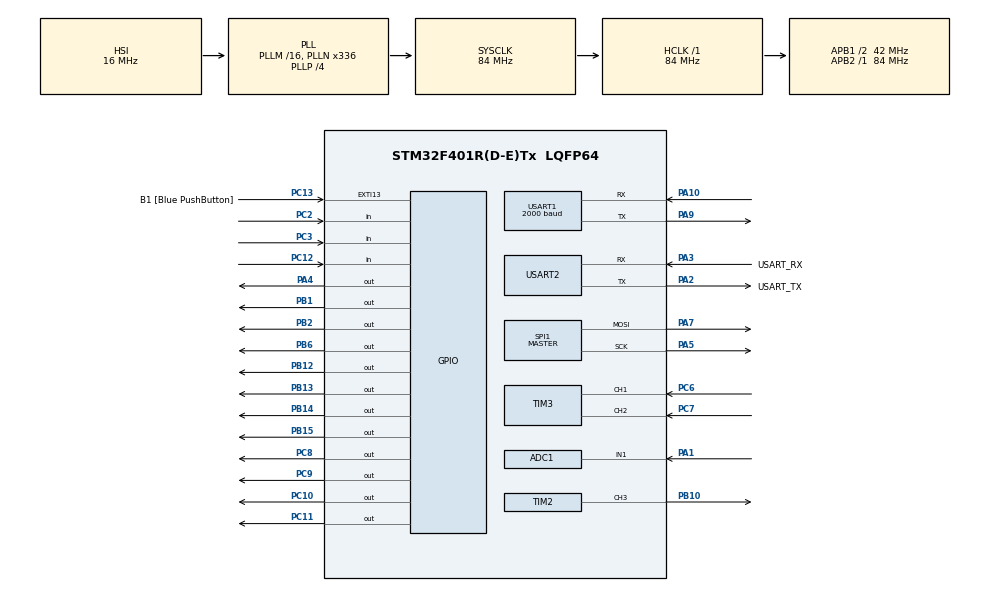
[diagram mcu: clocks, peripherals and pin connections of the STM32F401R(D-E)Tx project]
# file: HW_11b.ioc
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ADC1.Channel-0\#ChannelRegularConversion=ADC_CHANNEL_1
ADC1.ContinuousConvMode=DISABLE
ADC1.NbrOfConversionFlag=1
ADC1.Rank-0\#ChannelRegularConversion=1
ADC1.SamplingTime-0\#ChannelRegularConversion=ADC_SAMPLETIME_480CYCLES
ADC1.master=1
Dma.Request0=SPI1_TX
Dma.SPI1_TX.0.Direction=DMA_MEMORY_TO_PERIPH
Dma.SPI1_TX.0.FIFOMode=DMA_FIFOMODE_DISABLE
Dma.SPI1_TX.0.Instance=DMA2_Stream3
Dma.SPI1_TX.0.MemDataAlignment=DMA_MDATAALIGN_BYTE
Dma.SPI1_TX.0.MemInc=DMA_MINC_ENABLE
Dma.SPI1_TX.0.Mode=DMA_NORMAL
Dma.SPI1_TX.0.PeriphDataAlignment=DMA_PDATAALIGN_BYTE
Dma.SPI1_TX.0.PeriphInc=DMA_PINC_DISABLE
Dma.SPI1_TX.0.Priority=DMA_PRIORITY_LOW
Mcu.Family=STM32F4
Mcu.Name=STM32F401R(D-E)Tx
Mcu.Package=LQFP64
NVIC.DMA2_Stream3_IRQn=true\:0\:0\:false\:false\:true\:false\:true\:true
NVIC.PriorityGroup=NVIC_PRIORITYGROUP_1
NVIC.SPI1_IRQn=true\:0\:0\:false\:false\:true\:true\:true\:true
NVIC.TIM1_UP_TIM10_IRQn=true\:0\:0\:false\:false\:true\:true\:true\:true
NVIC.TIM2_IRQn=true\:0\:0\:false\:false\:true\:true\:true\:true
NVIC.TIM4_IRQn=true\:1\:0\:true\:false\:true\:true\:true\:true
NVIC.TIM5_IRQn=true\:0\:0\:false\:false\:true\:true\:true\:true
NVIC.USART1_IRQn=true\:0\:0\:false\:false\:true\:true\:true\:true
PA1.Signal=ADCx_IN1
PA10.Mode=Asynchronous
PA10.Signal=USART1_RX
PA13.GPIO_Label=TMS
PA13.Mode=Serial_Wire
PA13.Signal=SYS_JTMS-SWDIO
PA14.GPIO_Label=TCK
PA14.Mode=Serial_Wire
PA14.Signal=SYS_JTCK-SWCLK
PA2.GPIO_Label=USART_TX
PA2.GPIO_Mode=GPIO_MODE_AF_PP
PA2.GPIO_PuPd=GPIO_NOPULL
PA2.GPIO_Speed=GPIO_SPEED_FREQ_LOW
PA2.Mode=Asynchronous
PA2.Signal=USART2_TX
PA3.GPIO_Label=USART_RX
PA3.GPIO_Mode=GPIO_MODE_AF_PP
PA3.GPIO_PuPd=GPIO_NOPULL
PA3.GPIO_Speed=GPIO_SPEED_FREQ_LOW
PA3.Mode=Asynchronous
PA3.Signal=USART2_RX
PA4.Signal=GPIO_Output
PA5.Mode=TX_Only_Simplex_Unidirect_Master
PA5.Signal=SPI1_SCK
PA7.Mode=TX_Only_Simplex_Unidirect_Master
PA7.Signal=SPI1_MOSI
PA9.Mode=Asynchronous
PA9.Signal=USART1_TX
PB1.Signal=GPIO_Output
PB10.Signal=S_TIM2_CH3
PB12.Signal=GPIO_Output
PB13.Signal=GPIO_Output
PB14.Signal=GPIO_Output
PB15.Signal=GPIO_Output
PB2.Signal=GPIO_Output
PB3.GPIO_Label=SWO
PB3.Signal=SYS_JTDO-SWO
PB6.Signal=GPIO_Output
PC10.Signal=GPIO_Output
PC11.Signal=GPIO_Output
PC12.Signal=GPIO_Input
PC13-ANTI_TAMP.GPIO_Label=B1 [Blue PushButton]
PC13-ANTI_TAMP.GPIO_ModeDefaultEXTI=GPIO_MODE_IT_FALLING
PC13-ANTI_TAMP.GPIO_PuPd=GPIO_NOPULL
PC13-ANTI_TAMP.Signal=GPXTI13
PC14-OSC32_IN.Mode=LSE-External-Oscillator
PC14-OSC32_IN.Signal=RCC_OSC32_IN
PC15-OSC32_OUT.Mode=LSE-External-Oscillator
PC15-OSC32_OUT.Signal=RCC_OSC32_OUT
PC2.Signal=GPIO_Input
PC3.Signal=GPIO_Input
PC6.Signal=S_TIM3_CH1
PC7.Signal=S_TIM3_CH2
PC8.Signal=GPIO_Output
PC9.Signal=GPIO_Output
PH0\ -\ OSC_IN.Mode=HSE-External-Clock-Source
PH0\ -\ OSC_IN.Signal=RCC_OSC_IN
PH1\ -\ OSC_OUT.Mode=HSE-External-Clock-Source
PH1\ -\ OSC_OUT.Signal=RCC_OSC_OUT
ProjectManager.HeapSize=0x200
ProjectManager.StackSize=0x400
ProjectManager.TargetToolchain=STM32CubeIDE
RCC.48MHZClocksFreq_Value=48000000
RCC.AHBFreq_Value=84000000
RCC.APB1CLKDivider=RCC_HCLK_DIV2
RCC.APB1Freq_Value=42000000
RCC.APB1TimFreq_Value=84000000
RCC.APB2Freq_Value=84000000
RCC.APB2TimFreq_Value=84000000
RCC.CortexFreq_Value=84000000
RCC.HCLKFreq_Value=84000000
RCC.HSE_VALUE=8000000
RCC.HSI_VALUE=16000000
RCC.PLLN=336
RCC.PLLP=RCC_PLLP_DIV4
RCC.PLLQ=7
RCC.SYSCLKFreq_VALUE=84000000
RCC.SYSCLKSource=RCC_SYSCLKSOURCE_PLLCLK
RCC.VCOOutputFreq_Value=336000000
SH.ADCx_IN1.0=ADC1_IN1,IN1
SH.S_TIM2_CH3.0=TIM2_CH3,PWM Generation3 CH3
SH.S_TIM3_CH1.0=TIM3_CH1,Encoder_Interface
SH.S_TIM3_CH2.0=TIM3_CH2,Encoder_Interface
SPI1.BaudRatePrescaler=SPI_BAUDRATEPRESCALER_4
SPI1.Direction=SPI_DIRECTION_2LINES
SPI1.Mode=SPI_MODE_MASTER
SPI1.VirtualType=VM_MASTER
TIM10.Period=40
TIM10.Prescaler=8400
TIM2.Channel-PWM\ Generation3\ CH3=TIM_CHANNEL_3
TIM2.Period=2210
TIM2.Prescaler=0
TIM2.Pulse-PWM\ Generation3\ CH3=1105
TIM3.ClockDivision=TIM_CLOCKDIVISION_DIV4
TIM3.EncoderMode=TIM_ENCODERMODE_TI2
TIM3.IC1Filter=15
TIM4.Period=5-1
TIM4.Prescaler=8400-1
TIM5.Period=50-1
TIM5.Prescaler=8400-1
USART1.BaudRate=2000
USART1.VirtualMode=VM_ASYNC
USART2.VirtualMode=VM_ASYNC
VP_TIM10_VS_ClockSourceINT.Mode=Enable_Timer
VP_TIM4_VS_ClockSourceINT.Mode=Internal
VP_TIM5_VS_ClockSourceINT.Mode=Internal
board=NUCLEO-F401RE

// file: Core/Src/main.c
/* USER CODE BEGIN Header */
/**
 ******************************************************************************
 * @file           : main.c
 * @brief          : Main program body
 ******************************************************************************
 * @attention
 *
 * Copyright (c) 2023 STMicroelectronics.
 * All rights reserved.
 *
 * This software is licensed under terms that can be found in the LICENSE file
 * in the root directory of this software component.
 * If no LICENSE file comes with this software, it is provided AS-IS.
 *
 ******************************************************************************
 */
/* USER CODE END Header */
#include "main.h"

/* USER CODE BEGIN Includes */

#include "PMDB16_LCD.h"

/* USER CODE END Includes */

/* USER CODE BEGIN PTD */

// IR link control struct
struct IR_Ctrl
{
    int current_byte;
    int next_bit;
    uint8_t *buffer;
    int buffer_length;
};

/* USER CODE END PTD */

ADC_HandleTypeDef hadc1;

SPI_HandleTypeDef hspi1;
DMA_HandleTypeDef hdma_spi1_tx;

TIM_HandleTypeDef htim2;
TIM_HandleTypeDef htim3;
TIM_HandleTypeDef htim4;
TIM_HandleTypeDef htim5;
TIM_HandleTypeDef htim10;

UART_HandleTypeDef huart1;
UART_HandleTypeDef huart2;

/* USER CODE BEGIN PV */

// Button matrix
uint16_t rows[] = {GPIO_PIN_3, GPIO_PIN_2, GPIO_PIN_13, GPIO_PIN_12};
uint16_t cols[] = {GPIO_PIN_11, GPIO_PIN_10, GPIO_PIN_9, GPIO_PIN_8};
char vals[4][4] = {{'F', 'B', '7', '3'}, {'E', 'A', '6', '2'}, {'D', '9', '5', '1'}, {'C', '8', '4', '0'}};
int col_idx = 0;
uint8_t keys[4][4];

// Board identifiers
#define BOARDS 6
uint16_t board_id = 0;
uint16_t destination_id = BOARDS;

// IR link
uint8_t uart1_buffer;
struct IR_Ctrl ir_ctrl = {0, -1, NULL, 0};

int column_index = 0;
int letter_index = 0;

// {row, col}, where row is content, col is address
uint8_t matrix[5][2] = {
    {0, 0},
    {0, 0},
    {0, 0},
    {0, 0},
    {0, 0},
};

uint8_t ledmatrix_symbols[16][5][2] = {
    {{62, 16}, {113, 8}, {73, 4}, {71, 2}, {62, 1}}, // 0
    {{33, 16}, {65, 8}, {127, 4}, {1, 2}, {1, 1}},   // 1
    {{35, 16}, {69, 8}, {73, 4}, {81, 2}, {33, 1}},  // 2
    {{65, 16}, {73, 8}, {73, 4}, {73, 2}, {54, 1}},  // 3
    {{120, 16}, {8, 8}, {8, 4}, {127, 2}, {8, 1}},   // 4
    {{121, 16}, {73, 8}, {73, 4}, {73, 2}, {70, 1}}, // 5
    {{62, 16}, {73, 8}, {73, 4}, {73, 2}, {70, 1}},  // 6
    {{65, 16}, {66, 8}, {68, 4}, {72, 2}, {112, 1}}, // 7
    {{54, 16}, {73, 8}, {73, 4}, {73, 2}, {54, 1}},  // 8
    {{50, 16}, {73, 8}, {73, 4}, {73, 2}, {62, 1}},  // 9
    {{31, 16}, {36, 8}, {68, 4}, {36, 2}, {31, 1}},  // A
    {{127, 16}, {73, 8}, {73, 4}, {73, 2}, {54, 1}}, // B
    {{62, 16}, {65, 8}, {65, 4}, {65, 2}, {34, 1}},  // C
    {{127, 16}, {65, 8}, {65, 4}, {65, 2}, {62, 1}}, // D
    {{127, 16}, {73, 8}, {73, 4}, {73, 2}, {73, 1}}, // E
    {{127, 16}, {72, 8}, {72, 4}, {72, 2}, {72, 1}}  // F
};

/* USER CODE END PV */

void SystemClock_Config(void);
static void MX_GPIO_Init(void);
static void MX_DMA_Init(void);
static void MX_USART2_UART_Init(void);
static void MX_TIM3_Init(void);
static void MX_ADC1_Init(void);
static void MX_TIM2_Init(void);
static void MX_USART1_UART_Init(void);
static void MX_TIM4_Init(void);
static void MX_TIM5_Init(void);
static void MX_SPI1_Init(void);
static void MX_TIM10_Init(void);
/* USER CODE BEGIN PFP */

void send_command(char payload);
void parse_IR_byte(uint8_t byte);

void send_IR_string(uint8_t *data, int length);

/* USER CODE END PFP */

int main(void)
{

    /* MCU Configuration--------------------------------------------------------*/

    /* Reset of all peripherals, Initializes the Flash interface and the Systick. */
    HAL_Init();

    /* Configure the system clock */
    SystemClock_Config();

    /* Initialize all configured peripherals */
    MX_GPIO_Init();
    MX_DMA_Init();
    MX_USART2_UART_Init();
    MX_TIM3_Init();
    MX_ADC1_Init();
    MX_TIM2_Init();
    MX_USART1_UART_Init();
    MX_TIM4_Init();
    MX_TIM5_Init();
    MX_SPI1_Init();
    MX_TIM10_Init();
    /* USER CODE BEGIN 2 */

    lcd_initialize();

    // Start tim3 for quadrature encoder readout
    HAL_TIM_Base_Start(&htim3);

    // Start tim5 for keypad
    HAL_TIM_Base_Start_IT(&htim5);

    // Start receiving the first byte via the IR link
    HAL_UART_Receive_IT(&huart1, &uart1_buffer, 1);

    // Start tim10 for led matrix
    HAL_TIM_Base_Start_IT(&htim10);

    /* USER CODE END 2 */

    /* Infinite loop */
    /* USER CODE BEGIN WHILE */

    char id_message[17] = {0};
    ir_ctrl.buffer = malloc(4);

    while (1)
    {
        /* USER CODE END WHILE */

        /* USER CODE BEGIN 3 */

        // Read the board id
        board_id = (__HAL_TIM_GET_COUNTER(&htim3) / 2) % BOARDS;
        sprintf(id_message, "Board id: %d", board_id);
        lcd_println(id_message, 0);

        // Read the destination id
        HAL_ADC_Start(&hadc1);
        if (HAL_ADC_PollForConversion(&hadc1, 1) == HAL_OK)
        {
            destination_id = HAL_ADC_GetValue(&hadc1) / (4095 / (BOARDS + 1));
            if (destination_id != BOARDS)
            {
                sprintf(id_message, "Dest. id: %d", destination_id);
                lcd_println(id_message, 1);
            }
            else
            {
                lcd_println("Dest. id: ALL", 1);
            }
        }
    }
    /* USER CODE END 3 */
}

void SystemClock_Config(void)
{
    RCC_OscInitTypeDef RCC_OscInitStruct = {0};
    RCC_ClkInitTypeDef RCC_ClkInitStruct = {0};

    /** Configure the main internal regulator output voltage
     */
    __HAL_RCC_PWR_CLK_ENABLE();
    __HAL_PWR_VOLTAGESCALING_CONFIG(PWR_REGULATOR_VOLTAGE_SCALE2);

    /** Initializes the RCC Oscillators according to the specified parameters
     * in the RCC_OscInitTypeDef structure.
     */
    RCC_OscInitStruct.OscillatorType = RCC_OSCILLATORTYPE_HSI;
    RCC_OscInitStruct.HSIState = RCC_HSI_ON;
    RCC_OscInitStruct.HSICalibrationValue = RCC_HSICALIBRATION_DEFAULT;
    RCC_OscInitStruct.PLL.PLLState = RCC_PLL_ON;
    RCC_OscInitStruct.PLL.PLLSource = RCC_PLLSOURCE_HSI;
    RCC_OscInitStruct.PLL.PLLM = 16;
    RCC_OscInitStruct.PLL.PLLN = 336;
    RCC_OscInitStruct.PLL.PLLP = RCC_PLLP_DIV4;
    RCC_OscInitStruct.PLL.PLLQ = 7;
    if (HAL_RCC_OscConfig(&RCC_OscInitStruct) != HAL_OK)
    {
        Error_Handler();
    }

    /** Initializes the CPU, AHB and APB buses clocks
     */
    RCC_ClkInitStruct.ClockType = RCC_CLOCKTYPE_HCLK | RCC_CLOCKTYPE_SYSCLK | RCC_CLOCKTYPE_PCLK1 | RCC_CLOCKTYPE_PCLK2;
    RCC_ClkInitStruct.SYSCLKSource = RCC_SYSCLKSOURCE_PLLCLK;
    RCC_ClkInitStruct.AHBCLKDivider = RCC_SYSCLK_DIV1;
    RCC_ClkInitStruct.APB1CLKDivider = RCC_HCLK_DIV2;
    RCC_ClkInitStruct.APB2CLKDivider = RCC_HCLK_DIV1;

    if (HAL_RCC_ClockConfig(&RCC_ClkInitStruct, FLASH_LATENCY_2) != HAL_OK)
    {
        Error_Handler();
    }
}

static void MX_ADC1_Init(void)
{

    ADC_ChannelConfTypeDef sConfig = {0};

    /** Configure the global features of the ADC (Clock, Resolution, Data Alignment and number of conversion)
     */
    hadc1.Instance = ADC1;
    hadc1.Init.ClockPrescaler = ADC_CLOCK_SYNC_PCLK_DIV4;
    hadc1.Init.Resolution = ADC_RESOLUTION_12B;
    hadc1.Init.ScanConvMode = DISABLE;
    hadc1.Init.ContinuousConvMode = DISABLE;
    hadc1.Init.DiscontinuousConvMode = DISABLE;
    hadc1.Init.ExternalTrigConvEdge = ADC_EXTERNALTRIGCONVEDGE_NONE;
    hadc1.Init.ExternalTrigConv = ADC_SOFTWARE_START;
    hadc1.Init.DataAlign = ADC_DATAALIGN_RIGHT;
    hadc1.Init.NbrOfConversion = 1;
    hadc1.Init.DMAContinuousRequests = DISABLE;
    hadc1.Init.EOCSelection = ADC_EOC_SINGLE_CONV;
    if (HAL_ADC_Init(&hadc1) != HAL_OK)
    {
        Error_Handler();
    }

    /** Configure for the selected ADC regular channel its corresponding rank in the sequencer and its sample time.
     */
    sConfig.Channel = ADC_CHANNEL_1;
    sConfig.Rank = 1;
    sConfig.SamplingTime = ADC_SAMPLETIME_480CYCLES;
    if (HAL_ADC_ConfigChannel(&hadc1, &sConfig) != HAL_OK)
    {
        Error_Handler();
    }
}

static void MX_SPI1_Init(void)
{

    /* SPI1 parameter configuration*/
    hspi1.Instance = SPI1;
    hspi1.Init.Mode = SPI_MODE_MASTER;
    hspi1.Init.Direction = SPI_DIRECTION_2LINES;
    hspi1.Init.DataSize = SPI_DATASIZE_8BIT;
    hspi1.Init.CLKPolarity = SPI_POLARITY_LOW;
    hspi1.Init.CLKPhase = SPI_PHASE_1EDGE;
    hspi1.Init.NSS = SPI_NSS_SOFT;
    hspi1.Init.BaudRatePrescaler = SPI_BAUDRATEPRESCALER_4;
    hspi1.Init.FirstBit = SPI_FIRSTBIT_MSB;
    hspi1.Init.TIMode = SPI_TIMODE_DISABLE;
    hspi1.Init.CRCCalculation = SPI_CRCCALCULATION_DISABLE;
    hspi1.Init.CRCPolynomial = 10;
    if (HAL_SPI_Init(&hspi1) != HAL_OK)
    {
        Error_Handler();
    }
}

static void MX_TIM2_Init(void)
{

    TIM_MasterConfigTypeDef sMasterConfig = {0};
    TIM_OC_InitTypeDef sConfigOC = {0};

    htim2.Instance = TIM2;
    htim2.Init.Prescaler = 0;
    htim2.Init.CounterMode = TIM_COUNTERMODE_UP;
    htim2.Init.Period = 2210;
    htim2.Init.ClockDivision = TIM_CLOCKDIVISION_DIV1;
    htim2.Init.AutoReloadPreload = TIM_AUTORELOAD_PRELOAD_DISABLE;
    if (HAL_TIM_PWM_Init(&htim2) != HAL_OK)
    {
        Error_Handler();
    }
    sMasterConfig.MasterOutputTrigger = TIM_TRGO_RESET;
    sMasterConfig.MasterSlaveMode = TIM_MASTERSLAVEMODE_DISABLE;
    if (HAL_TIMEx_MasterConfigSynchronization(&htim2, &sMasterConfig) != HAL_OK)
    {
        Error_Handler();
    }
    sConfigOC.OCMode = TIM_OCMODE_PWM1;
    sConfigOC.Pulse = 1105;
    sConfigOC.OCPolarity = TIM_OCPOLARITY_HIGH;
    sConfigOC.OCFastMode = TIM_OCFAST_DISABLE;
    if (HAL_TIM_PWM_ConfigChannel(&htim2, &sConfigOC, TIM_CHANNEL_3) != HAL_OK)
    {
        Error_Handler();
    }
    HAL_TIM_MspPostInit(&htim2);
}

static void MX_TIM3_Init(void)
{

    TIM_Encoder_InitTypeDef sConfig = {0};
    TIM_MasterConfigTypeDef sMasterConfig = {0};

    htim3.Instance = TIM3;
    htim3.Init.Prescaler = 0;
    htim3.Init.CounterMode = TIM_COUNTERMODE_UP;
    htim3.Init.Period = 65535;
    htim3.Init.ClockDivision = TIM_CLOCKDIVISION_DIV4;
    htim3.Init.AutoReloadPreload = TIM_AUTORELOAD_PRELOAD_DISABLE;
    sConfig.EncoderMode = TIM_ENCODERMODE_TI2;
    sConfig.IC1Polarity = TIM_ICPOLARITY_RISING;
    sConfig.IC1Selection = TIM_ICSELECTION_DIRECTTI;
    sConfig.IC1Prescaler = TIM_ICPSC_DIV1;
    sConfig.IC1Filter = 15;
    sConfig.IC2Polarity = TIM_ICPOLARITY_RISING;
    sConfig.IC2Selection = TIM_ICSELECTION_DIRECTTI;
    sConfig.IC2Prescaler = TIM_ICPSC_DIV1;
    sConfig.IC2Filter = 0;
    if (HAL_TIM_Encoder_Init(&htim3, &sConfig) != HAL_OK)
    {
        Error_Handler();
    }
    sMasterConfig.MasterOutputTrigger = TIM_TRGO_RESET;
    sMasterConfig.MasterSlaveMode = TIM_MASTERSLAVEMODE_DISABLE;
    if (HAL_TIMEx_MasterConfigSynchronization(&htim3, &sMasterConfig) != HAL_OK)
    {
        Error_Handler();
    }
}

static void MX_TIM4_Init(void)
{

    TIM_ClockConfigTypeDef sClockSourceConfig = {0};
    TIM_MasterConfigTypeDef sMasterConfig = {0};

    htim4.Instance = TIM4;
    htim4.Init.Prescaler = 8400 - 1;
    htim4.Init.CounterMode = TIM_COUNTERMODE_UP;
    htim4.Init.Period = 5 - 1;
    htim4.Init.ClockDivision = TIM_CLOCKDIVISION_DIV1;
    htim4.Init.AutoReloadPreload = TIM_AUTORELOAD_PRELOAD_DISABLE;
    if (HAL_TIM_Base_Init(&htim4) != HAL_OK)
    {
        Error_Handler();
    }
    sClockSourceConfig.ClockSource = TIM_CLOCKSOURCE_INTERNAL;
    if (HAL_TIM_ConfigClockSource(&htim4, &sClockSourceConfig) != HAL_OK)
    {
        Error_Handler();
    }
    sMasterConfig.MasterOutputTrigger = TIM_TRGO_RESET;
    sMasterConfig.MasterSlaveMode = TIM_MASTERSLAVEMODE_DISABLE;
    if (HAL_TIMEx_MasterConfigSynchronization(&htim4, &sMasterConfig) != HAL_OK)
    {
        Error_Handler();
    }
}

static void MX_TIM5_Init(void)
{

    TIM_ClockConfigTypeDef sClockSourceConfig = {0};
    TIM_MasterConfigTypeDef sMasterConfig = {0};

    htim5.Instance = TIM5;
    htim5.Init.Prescaler = 8400 - 1;
    htim5.Init.CounterMode = TIM_COUNTERMODE_UP;
    htim5.Init.Period = 50 - 1;
    htim5.Init.ClockDivision = TIM_CLOCKDIVISION_DIV1;
    htim5.Init.AutoReloadPreload = TIM_AUTORELOAD_PRELOAD_DISABLE;
    if (HAL_TIM_Base_Init(&htim5) != HAL_OK)
    {
        Error_Handler();
    }
    sClockSourceConfig.ClockSource = TIM_CLOCKSOURCE_INTERNAL;
    if (HAL_TIM_ConfigClockSource(&htim5, &sClockSourceConfig) != HAL_OK)
    {
        Error_Handler();
    }
    sMasterConfig.MasterOutputTrigger = TIM_TRGO_RESET;
    sMasterConfig.MasterSlaveMode = TIM_MASTERSLAVEMODE_DISABLE;
    if (HAL_TIMEx_MasterConfigSynchronization(&htim5, &sMasterConfig) != HAL_OK)
    {
        Error_Handler();
    }
}

static void MX_TIM10_Init(void)
{

    htim10.Instance = TIM10;
    htim10.Init.Prescaler = 8400;
    htim10.Init.CounterMode = TIM_COUNTERMODE_UP;
    htim10.Init.Period = 40;
    htim10.Init.ClockDivision = TIM_CLOCKDIVISION_DIV1;
    htim10.Init.AutoReloadPreload = TIM_AUTORELOAD_PRELOAD_DISABLE;
    if (HAL_TIM_Base_Init(&htim10) != HAL_OK)
    {
        Error_Handler();
    }
}

static void MX_USART1_UART_Init(void)
{

    huart1.Instance = USART1;
    huart1.Init.BaudRate = 2000;
    huart1.Init.WordLength = UART_WORDLENGTH_8B;
    huart1.Init.StopBits = UART_STOPBITS_1;
    huart1.Init.Parity = UART_PARITY_NONE;
    huart1.Init.Mode = UART_MODE_TX_RX;
    huart1.Init.HwFlowCtl = UART_HWCONTROL_NONE;
    huart1.Init.OverSampling = UART_OVERSAMPLING_16;
    if (HAL_UART_Init(&huart1) != HAL_OK)
    {
        Error_Handler();
    }
}

static void MX_USART2_UART_Init(void)
{

    huart2.Instance = USART2;
    huart2.Init.BaudRate = 115200;
    huart2.Init.WordLength = UART_WORDLENGTH_8B;
    huart2.Init.StopBits = UART_STOPBITS_1;
    huart2.Init.Parity = UART_PARITY_NONE;
    huart2.Init.Mode = UART_MODE_TX_RX;
    huart2.Init.HwFlowCtl = UART_HWCONTROL_NONE;
    huart2.Init.OverSampling = UART_OVERSAMPLING_16;
    if (HAL_UART_Init(&huart2) != HAL_OK)
    {
        Error_Handler();
    }
}

static void MX_DMA_Init(void)
{

    /* DMA controller clock enable */
    __HAL_RCC_DMA2_CLK_ENABLE();

    /* DMA interrupt init */
    /* DMA2_Stream3_IRQn interrupt configuration */
    HAL_NVIC_SetPriority(DMA2_Stream3_IRQn, 0, 0);
    HAL_NVIC_EnableIRQ(DMA2_Stream3_IRQn);
}

static void MX_GPIO_Init(void)
{
    GPIO_InitTypeDef GPIO_InitStruct = {0};

    /* GPIO Ports Clock Enable */
    __HAL_RCC_GPIOC_CLK_ENABLE();
    __HAL_RCC_GPIOH_CLK_ENABLE();
    __HAL_RCC_GPIOA_CLK_ENABLE();
    __HAL_RCC_GPIOB_CLK_ENABLE();

    /*Configure GPIO pin Output Level */
    HAL_GPIO_WritePin(GPIOA, GPIO_PIN_4, GPIO_PIN_RESET);

    /*Configure GPIO pin Output Level */
    HAL_GPIO_WritePin(GPIOB, GPIO_PIN_1 | GPIO_PIN_2 | GPIO_PIN_12 | GPIO_PIN_13 | GPIO_PIN_14 | GPIO_PIN_15 | GPIO_PIN_6, GPIO_PIN_RESET);

    /*Configure GPIO pin Output Level */
    HAL_GPIO_WritePin(GPIOC, GPIO_PIN_8 | GPIO_PIN_9 | GPIO_PIN_10 | GPIO_PIN_11, GPIO_PIN_RESET);

    /*Configure GPIO pin : B1_Pin */
    GPIO_InitStruct.Pin = B1_Pin;
    GPIO_InitStruct.Mode = GPIO_MODE_IT_FALLING;
    GPIO_InitStruct.Pull = GPIO_NOPULL;
    HAL_GPIO_Init(B1_GPIO_Port, &GPIO_InitStruct);

    /*Configure GPIO pins : PC2 PC3 PC12 */
    GPIO_InitStruct.Pin = GPIO_PIN_2 | GPIO_PIN_3 | GPIO_PIN_12;
    GPIO_InitStruct.Mode = GPIO_MODE_INPUT;
    GPIO_InitStruct.Pull = GPIO_NOPULL;
    HAL_GPIO_Init(GPIOC, &GPIO_InitStruct);

    /*Configure GPIO pin : PA4 */
    GPIO_InitStruct.Pin = GPIO_PIN_4;
    GPIO_InitStruct.Mode = GPIO_MODE_OUTPUT_PP;
    GPIO_InitStruct.Pull = GPIO_NOPULL;
    GPIO_InitStruct.Speed = GPIO_SPEED_FREQ_LOW;
    HAL_GPIO_Init(GPIOA, &GPIO_InitStruct);

    /*Configure GPIO pins : PB1 PB2 PB12 PB13
                             PB14 PB15 PB6 */
    GPIO_InitStruct.Pin = GPIO_PIN_1 | GPIO_PIN_2 | GPIO_PIN_12 | GPIO_PIN_13 | GPIO_PIN_14 | GPIO_PIN_15 | GPIO_PIN_6;
    GPIO_InitStruct.Mode = GPIO_MODE_OUTPUT_PP;
    GPIO_InitStruct.Pull = GPIO_NOPULL;
    GPIO_InitStruct.Speed = GPIO_SPEED_FREQ_LOW;
    HAL_GPIO_Init(GPIOB, &GPIO_InitStruct);

    /*Configure GPIO pins : PC8 PC9 PC10 PC11 */
    GPIO_InitStruct.Pin = GPIO_PIN_8 | GPIO_PIN_9 | GPIO_PIN_10 | GPIO_PIN_11;
    GPIO_InitStruct.Mode = GPIO_MODE_OUTPUT_PP;
    GPIO_InitStruct.Pull = GPIO_NOPULL;
    GPIO_InitStruct.Speed = GPIO_SPEED_FREQ_LOW;
    HAL_GPIO_Init(GPIOC, &GPIO_InitStruct);

}

/* USER CODE BEGIN 4 */

void HAL_TIM_PeriodElapsedCallback(TIM_HandleTypeDef *htim)
{
    // Keypad interrupt
    if (htim == &htim5)
    {
        for (int row_idx = 0; row_idx < 4; row_idx++)
        {
            GPIO_PinState rowState = HAL_GPIO_ReadPin(GPIOC, rows[row_idx]);

            uint8_t btn_state = (rowState == GPIO_PIN_RESET) ? 1 : 0;

            if (btn_state == 1 && keys[col_idx][row_idx] == 0)
            {
                keys[col_idx][row_idx] = 1;

                send_command(vals[col_idx][row_idx]);
            }
            else if (btn_state == 0 && keys[col_idx][row_idx] == 1)
            {
                keys[col_idx][row_idx] = 0;
            }
        }

        HAL_GPIO_WritePin(GPIOC, cols[col_idx], GPIO_PIN_RESET);
        if (++col_idx > 3)
            col_idx = 0;
        HAL_GPIO_WritePin(GPIOC, cols[col_idx], GPIO_PIN_SET);
    }
    // IR link transmission interrupt
    else if (htim == &htim4)
    {
        if (ir_ctrl.current_byte >= 0 && ir_ctrl.current_byte < ir_ctrl.buffer_length)
        {
            if (ir_ctrl.next_bit == -1)
            {
                // Send the start bit (low)
                HAL_TIM_PWM_Start(&htim2, TIM_CHANNEL_3);
            }
            else if (ir_ctrl.next_bit < 8)
            {
                // Send a bit
                if (ir_ctrl.buffer[ir_ctrl.current_byte] >> ir_ctrl.next_bit & 0x1)
                {
                    // Stop the carrier to send a 1
                    HAL_TIM_PWM_Stop(&htim2, TIM_CHANNEL_3);
                }
                else
                {
                    // Start the carrier to send a 0
                    HAL_TIM_PWM_Start(&htim2, TIM_CHANNEL_3);
                }
            }
            else
            {
                // Send the STOP bit (high)
                HAL_TIM_PWM_Stop(&htim2, TIM_CHANNEL_3);
            }
            ir_ctrl.next_bit++;

            if (ir_ctrl.next_bit == 9 + 1)
            {
                // Reset the bit and increment the byte
                ir_ctrl.next_bit = -1;
                ir_ctrl.current_byte++;
            }

            // If we've reached the end of the content we reset the pointer and stop the timer
            if (ir_ctrl.current_byte == ir_ctrl.buffer_length)
            {
                ir_ctrl.current_byte = -1;
                HAL_TIM_Base_Stop_IT(&htim4);
            }
        }
    }
    else if (htim == &htim10)
    {
        HAL_SPI_Transmit_DMA(&hspi1, matrix[column_index], 2);
    }
}

void HAL_UART_RxCpltCallback(UART_HandleTypeDef *huart)
{
    if (huart == &huart1)
    {
        // Parse what we receive from the IR link
        parse_IR_byte(uart1_buffer);

        // Setup the peripheral to receive another byte
        HAL_UART_Receive_IT(&huart1, &uart1_buffer, 1);
    }
}

void HAL_SPI_TxCpltCallback(SPI_HandleTypeDef *hspi)
{
    HAL_GPIO_WritePin(GPIOB, GPIO_PIN_6, GPIO_PIN_SET);
    if (++column_index > 4)
        column_index = 0;
    HAL_GPIO_WritePin(GPIOB, GPIO_PIN_6, GPIO_PIN_RESET);
}

void send_command(char payload)
{
    char buffer[5] = ":  \0";
    buffer[1] = destination_id + '0';
    buffer[2] = payload;
    send_IR_string((uint8_t *)buffer, 3);
}

void send_IR_string(uint8_t *data, int length)
{
    memcpy(ir_ctrl.buffer, data, length);
    ir_ctrl.buffer_length = length;
    ir_ctrl.current_byte = 0;
    ir_ctrl.next_bit = -1;

    HAL_TIM_Base_Start_IT(&htim4);
}

void parse_IR_byte(uint8_t byte)
{
    if (byte == ':')
    {
        HAL_UART_Transmit(&huart2, "\n\r", 2, -1);
    }
    HAL_UART_Transmit(&huart2, &byte, 1, -1);

    /**
     * 0: Waiting for ':'
     * 1: Waiting for id
     * 2: Waiting for char
     */
    static int state = 0;

    // At any moment if we receive ':' (0d58) we reset the state
    if (byte == ':')
    {
        state = 1;
    }
    // If we receive an id we check it against our id
    else if (state == 1)
    {
        // Convert char byte to number
        uint8_t msg_dst_id = byte - '0';

        if (msg_dst_id == board_id || msg_dst_id == BOARDS)
        {
            // The message is for us
            state = 2;
        }
        else
        {
            // The message is not for us
            state = 0;

            char buffer[] = "\n\rReceived message for another board\n\r";
            HAL_UART_Transmit(&huart2, buffer, sizeof(buffer), -1);
        }
    }
    else if (state == 2)
    {
        // Find the ledmatrix symbol to use
        int symbol_idx = 0;
        if (byte >= '0' && byte <= '9')
        {
            symbol_idx = byte - '0';
        }
        else if (byte >= 'A' && byte <= 'F')
        {
            symbol_idx = byte - 'A' + 10;
        }
        memcpy(matrix, ledmatrix_symbols[symbol_idx], sizeof(matrix));

        // Reset the state since the message is finished
        state = 0;
    }
}

/* USER CODE END 4 */

void Error_Handler(void)
{
    __disable_irq();
    while (1)
    {
    }
}
